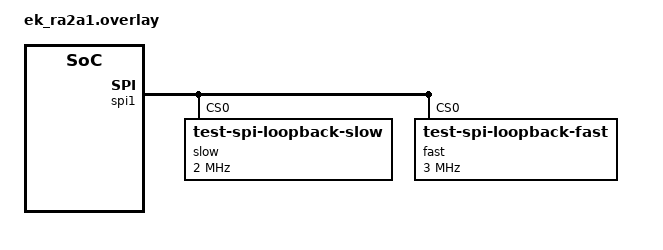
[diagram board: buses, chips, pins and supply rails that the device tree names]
/*
 * Copyright (c) 2024 Renesas Electronics Corporation
 * SPDX-License-Identifier: Apache-2.0
 */

&spi1 {
	rx-dtc;
	tx-dtc;
	slow@0 {
		compatible = "test-spi-loopback-slow";
		reg = <0>;
		spi-max-frequency = <2000000>;
	};
	fast@0 {
		compatible = "test-spi-loopback-fast";
		reg = <0>;
		spi-max-frequency = <3000000>;
	};
};
